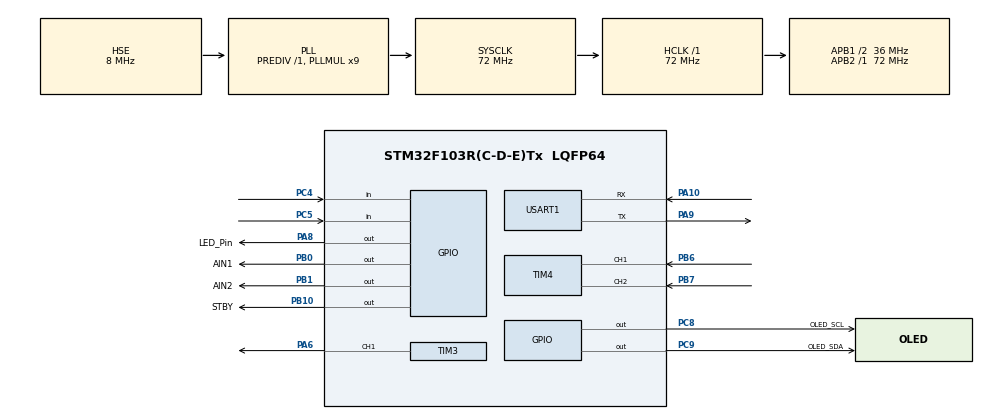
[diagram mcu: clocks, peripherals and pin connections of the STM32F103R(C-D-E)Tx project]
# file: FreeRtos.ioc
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FREERTOS.Tasks01=EncoderTask,24,128,StartEncoderTask,Default,NULL,Dynamic,NULL,NULL;OLEDTask,8,256,StartOLEDTask,Default,NULL,Dynamic,NULL,NULL;KeyTask,24,128,StartKeyTask,Default,NULL,Dynamic,NULL,NULL;MotorTask,24,256,StartMotorTask,Default,NULL,Dynamic,NULL,NULL;VofaTask,8,256,StartVofaTask,Default,NULL,Dynamic,NULL,NULL;LEDTask,8,128,StartLEDTask,Default,NULL,Dynamic,NULL,NULL
FREERTOS.configTOTAL_HEAP_SIZE=8192
Mcu.Family=STM32F1
Mcu.Name=STM32F103R(C-D-E)Tx
Mcu.Package=LQFP64
NVIC.PriorityGroup=NVIC_PRIORITYGROUP_4
NVIC.TIM1_UP_IRQn=true\:15\:0\:false\:false\:true\:false\:false\:true\:true
NVIC.TimeBase=TIM1_UP_IRQn
NVIC.TimeBaseIP=TIM1
PA13.Mode=Serial_Wire
PA13.Signal=SYS_JTMS-SWDIO
PA14.Mode=Serial_Wire
PA14.Signal=SYS_JTCK-SWCLK
PA6.Signal=S_TIM3_CH1
PA8.GPIO_Label=LED_Pin
PA8.Signal=GPIO_Output
PA9.Mode=Asynchronous
PA9.Signal=USART1_TX
PA10.Mode=Asynchronous
PA10.Signal=USART1_RX
PB0.GPIO_Label=AIN1
PB0.PinState=GPIO_PIN_RESET
PB0.Signal=GPIO_Output
PB1.GPIO_Label=AIN2
PB1.Signal=GPIO_Output
PB10.GPIO_Label=STBY
PB10.Signal=GPIO_Output
PB6.GPIO_PuPd=GPIO_PULLUP
PB6.Signal=S_TIM4_CH1
PB7.GPIO_PuPd=GPIO_PULLUP
PB7.Signal=S_TIM4_CH2
PC14-OSC32_IN.Mode=LSE-External-Oscillator
PC14-OSC32_IN.Signal=RCC_OSC32_IN
PC15-OSC32_OUT.Mode=LSE-External-Oscillator
PC15-OSC32_OUT.Signal=RCC_OSC32_OUT
PC4.GPIO_PuPd=GPIO_PULLUP
PC4.Signal=GPIO_Input
PC5.GPIO_PuPd=GPIO_PULLUP
PC5.Signal=GPIO_Input
PC8.GPIO_Label=OLED_SCL
PC8.GPIO_ModeDefaultOutputPP=GPIO_MODE_OUTPUT_OD
PC8.GPIO_PuPd=GPIO_PULLUP
PC8.Signal=GPIO_Output
PC9.GPIO_Label=OLED_SDA
PC9.GPIO_ModeDefaultOutputPP=GPIO_MODE_OUTPUT_OD
PC9.GPIO_PuPd=GPIO_PULLUP
PC9.Signal=GPIO_Output
PD0-OSC_IN.Mode=HSE-External-Oscillator
PD0-OSC_IN.Signal=RCC_OSC_IN
PD1-OSC_OUT.Mode=HSE-External-Oscillator
PD1-OSC_OUT.Signal=RCC_OSC_OUT
ProjectManager.HeapSize=0x200
ProjectManager.StackSize=0x400
ProjectManager.TargetToolchain=MDK-ARM V5.32
RCC.AHBFreq_Value=72000000
RCC.APB1CLKDivider=RCC_HCLK_DIV2
RCC.APB1Freq_Value=36000000
RCC.APB1TimFreq_Value=72000000
RCC.APB2Freq_Value=72000000
RCC.APB2TimFreq_Value=72000000
RCC.HCLKFreq_Value=72000000
RCC.PLLMUL=RCC_PLL_MUL9
RCC.PLLSourceVirtual=RCC_PLLSOURCE_HSE
RCC.SYSCLKFreq_VALUE=72000000
RCC.SYSCLKSource=RCC_SYSCLKSOURCE_PLLCLK
RCC.USBFreq_Value=72000000
SH.S_TIM3_CH1.0=TIM3_CH1,PWM Generation1 CH1
SH.S_TIM4_CH1.0=TIM4_CH1,Encoder_Interface
SH.S_TIM4_CH2.0=TIM4_CH2,Encoder_Interface
TIM3.AutoReloadPreload=TIM_AUTORELOAD_PRELOAD_ENABLE
TIM3.Channel-PWM\ Generation1\ CH1=TIM_CHANNEL_1
TIM3.Period=1000-1
TIM3.Prescaler=72-1
TIM4.EncoderMode=TIM_ENCODERMODE_TI12
TIM4.IC1Filter=6
TIM4.IC1Polarity=TIM_ICPOLARITY_RISING
TIM4.IC2Filter=6
TIM4.IC2Polarity=TIM_ICPOLARITY_RISING
USART1.VirtualMode=VM_ASYNC
VP_FREERTOS_VS_CMSIS_V2.Mode=CMSIS_V2
VP_SYS_VS_tim1.Mode=TIM1
board=custom

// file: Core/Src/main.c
/* USER CODE BEGIN Header */
/**
  ******************************************************************************
  * @file           : main.c
  * @brief          : Main program body
  ******************************************************************************
  * @attention
  *
  * Copyright (c) 2026 STMicroelectronics.
  * All rights reserved.
  *
  * This software is licensed under terms that can be found in the LICENSE file
  * in the root directory of this software component.
  * If no LICENSE file comes with this software, it is provided AS-IS.
  *
  ******************************************************************************
  */
/* USER CODE END Header */
#include "main.h"
#include "cmsis_os.h"
#include "tim.h"
#include "usart.h"
#include "gpio.h"

void SystemClock_Config(void);
void MX_FREERTOS_Init(void);

int main(void)
{

  /* MCU Configuration--------------------------------------------------------*/

  /* Reset of all peripherals, Initializes the Flash interface and the Systick. */
  HAL_Init();

  /* Configure the system clock */
  SystemClock_Config();

  /* Initialize all configured peripherals */
  MX_GPIO_Init();
  MX_USART1_UART_Init();
  MX_TIM3_Init();
  MX_TIM4_Init();

  /* Init scheduler */
  osKernelInitialize();  /* Call init function for freertos objects (in cmsis_os2.c) */
  MX_FREERTOS_Init();

  /* Start scheduler */
  osKernelStart();

  /* We should never get here as control is now taken by the scheduler */

  /* Infinite loop */
  while (1)
  {

  }
}

void SystemClock_Config(void)
{
  RCC_OscInitTypeDef RCC_OscInitStruct = {0};
  RCC_ClkInitTypeDef RCC_ClkInitStruct = {0};

  /** Initializes the RCC Oscillators according to the specified parameters
  * in the RCC_OscInitTypeDef structure.
  */
  RCC_OscInitStruct.OscillatorType = RCC_OSCILLATORTYPE_HSE;
  RCC_OscInitStruct.HSEState = RCC_HSE_ON;
  RCC_OscInitStruct.HSEPredivValue = RCC_HSE_PREDIV_DIV1;
  RCC_OscInitStruct.HSIState = RCC_HSI_ON;
  RCC_OscInitStruct.PLL.PLLState = RCC_PLL_ON;
  RCC_OscInitStruct.PLL.PLLSource = RCC_PLLSOURCE_HSE;
  RCC_OscInitStruct.PLL.PLLMUL = RCC_PLL_MUL9;
  if (HAL_RCC_OscConfig(&RCC_OscInitStruct) != HAL_OK)
  {
    Error_Handler();
  }

  /** Initializes the CPU, AHB and APB buses clocks
  */
  RCC_ClkInitStruct.ClockType = RCC_CLOCKTYPE_HCLK|RCC_CLOCKTYPE_SYSCLK
                              |RCC_CLOCKTYPE_PCLK1|RCC_CLOCKTYPE_PCLK2;
  RCC_ClkInitStruct.SYSCLKSource = RCC_SYSCLKSOURCE_PLLCLK;
  RCC_ClkInitStruct.AHBCLKDivider = RCC_SYSCLK_DIV1;
  RCC_ClkInitStruct.APB1CLKDivider = RCC_HCLK_DIV2;
  RCC_ClkInitStruct.APB2CLKDivider = RCC_HCLK_DIV1;

  if (HAL_RCC_ClockConfig(&RCC_ClkInitStruct, FLASH_LATENCY_2) != HAL_OK)
  {
    Error_Handler();
  }
}

void HAL_TIM_PeriodElapsedCallback(TIM_HandleTypeDef *htim)
{
  if (htim->Instance == TIM1)
  {
    HAL_IncTick();
  }
}

void Error_Handler(void)
{
  __disable_irq();
  while (1)
  {
  }
}

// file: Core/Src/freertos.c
/* USER CODE BEGIN Header */
/**
  ******************************************************************************
  * File Name          : freertos.c
  * Description        : Code for freertos applications
  ******************************************************************************
  * @attention
  *
  * Copyright (c) 2026 STMicroelectronics.
  * All rights reserved.
  *
  * This software is licensed under terms that can be found in the LICENSE file
  * in the root directory of this software component.
  * If no LICENSE file comes with this software, it is provided AS-IS.
  *
  ******************************************************************************
  */
/* USER CODE END Header */

#include "FreeRTOS.h"
#include "task.h"
#include "main.h"
#include "cmsis_os.h"

/* USER CODE BEGIN Includes */

#include "app.h"

/* USER CODE END Includes */

/* USER CODE BEGIN Variables */

/* 应用层状态放在 User/app/app.c 中，这里只负责创建 FreeRTOS 任务。 */

/* USER CODE END Variables */
/* EncoderTask 的任务句柄和创建参数。 */
osThreadId_t EncoderTaskHandle;
const osThreadAttr_t EncoderTask_attributes = {
  .name = "EncoderTask",
  .stack_size = 128 * 4,
  .priority = (osPriority_t) osPriorityNormal,
};
/* OLEDTask 的任务句柄和创建参数。 */
osThreadId_t OLEDTaskHandle;
const osThreadAttr_t OLEDTask_attributes = {
  .name = "OLEDTask",
  .stack_size = 256 * 4,
  .priority = (osPriority_t) osPriorityLow,
};
/* KeyTask 的任务句柄和创建参数。 */
osThreadId_t KeyTaskHandle;
const osThreadAttr_t KeyTask_attributes = {
  .name = "KeyTask",
  .stack_size = 128 * 4,
  .priority = (osPriority_t) osPriorityNormal,
};
/* MotorTask 的任务句柄和创建参数。 */
osThreadId_t MotorTaskHandle;
const osThreadAttr_t MotorTask_attributes = {
  .name = "MotorTask",
  .stack_size = 256 * 4,
  .priority = (osPriority_t) osPriorityNormal,
};
/* VofaTask 的任务句柄和创建参数，用来周期发送 PID 串口曲线数据。 */
osThreadId_t VofaTaskHandle;
const osThreadAttr_t VofaTask_attributes = {
  .name = "VofaTask",
  .stack_size = 256 * 4,
  .priority = (osPriority_t) osPriorityLow,
};
/* LEDTask 的任务句柄和创建参数，用来观察调度器是否在运行。 */
osThreadId_t LEDTaskHandle;
const osThreadAttr_t LEDTask_attributes = {
  .name = "LEDTask",
  .stack_size = 128 * 4,
  .priority = (osPriority_t) osPriorityLow,
};

void StartEncoderTask(void *argument);
void StartOLEDTask(void *argument);
void StartKeyTask(void *argument);
void StartMotorTask(void *argument);
void StartVofaTask(void *argument);
void StartLEDTask(void *argument);

void MX_FREERTOS_Init(void); /* (MISRA C 2004 rule 8.1) */

void MX_FREERTOS_Init(void) {
  /* USER CODE BEGIN Init */
  /*
   * 在任何任务启动前先复位应用层共享状态。
   * 各外设的硬件初始化放到拥有该外设的任务里完成。
   */
  App_Init();

  /* USER CODE END Init */

  /* Create the thread(s) */
  /* 创建编码器采样任务。 */
  EncoderTaskHandle = osThreadNew(StartEncoderTask, NULL, &EncoderTask_attributes);

  /* 创建 OLED 显示任务。 */
  OLEDTaskHandle = osThreadNew(StartOLEDTask, NULL, &OLEDTask_attributes);

  /* 创建按键扫描任务。 */
  KeyTaskHandle = osThreadNew(StartKeyTask, NULL, &KeyTask_attributes);

  /* 创建电机输出任务。 */
  MotorTaskHandle = osThreadNew(StartMotorTask, NULL, &MotorTask_attributes);

  /* 创建 VOFA 串口调试任务。 */
  VofaTaskHandle = osThreadNew(StartVofaTask, NULL, &VofaTask_attributes);

  /* 创建 LED 心跳任务。 */
  LEDTaskHandle = osThreadNew(StartLEDTask, NULL, &LEDTask_attributes);

  /* USER CODE BEGIN RTOS_THREADS */
  /*
   * 如果 heap 不够，osThreadNew() 会返回 NULL。
   * 这里主动检查，避免出现“部分任务没创建成功，但程序表面还在跑”的假象。
   */
  if ((EncoderTaskHandle == NULL) ||
      (OLEDTaskHandle == NULL) ||
      (KeyTaskHandle == NULL) ||
      (MotorTaskHandle == NULL) ||
      (VofaTaskHandle == NULL) ||
      (LEDTaskHandle == NULL))
  {
    Error_Handler();
  }
  /* USER CODE END RTOS_THREADS */

}

/* USER CODE BEGIN Header_StartEncoderTask */
/**
* @brief EncoderTask 线程入口。
* @param argument: 未使用
* @retval None
*/
/* USER CODE END Header_StartEncoderTask */
void StartEncoderTask(void *argument)
{
  /* USER CODE BEGIN StartEncoderTask */
  App_EncoderTask();
  /* USER CODE END StartEncoderTask */
}

/* USER CODE BEGIN Header_StartOLEDTask */
/**
* @brief OLEDTask 线程入口。
* @param argument: 未使用
* @retval None
*/
/* USER CODE END Header_StartOLEDTask */
void StartOLEDTask(void *argument)
{
  /* USER CODE BEGIN StartOLEDTask */
  App_OLEDTask();
  /* USER CODE END StartOLEDTask */
}

/* USER CODE BEGIN Header_StartKeyTask */
/**
* @brief KeyTask 线程入口。
* @param argument: 未使用
* @retval None
*/
/* USER CODE END Header_StartKeyTask */
void StartKeyTask(void *argument)
{
  /* USER CODE BEGIN StartKeyTask */
  App_KeyTask();
  /* USER CODE END StartKeyTask */
}

/* USER CODE BEGIN Header_StartMotorTask */
/**
* @brief MotorTask 线程入口。
* @param argument: 未使用
* @retval None
*/
/* USER CODE END Header_StartMotorTask */
void StartMotorTask(void *argument)
{
  /* USER CODE BEGIN StartMotorTask */
  App_MotorTask();
  /* USER CODE END StartMotorTask */
}

/* USER CODE BEGIN Header_StartVofaTask */
/**
* @brief VofaTask 线程入口。
* @param argument: 未使用
* @retval None
*/
/* USER CODE END Header_StartVofaTask */
void StartVofaTask(void *argument)
{
  /* USER CODE BEGIN StartVofaTask */
  App_VofaTask();
  /* USER CODE END StartVofaTask */
}

/* USER CODE BEGIN Header_StartLEDTask */
/**
* @brief LEDTask 线程入口。
* @param argument: 未使用
* @retval None
*/
/* USER CODE END Header_StartLEDTask */
void StartLEDTask(void *argument)
{
  /* USER CODE BEGIN StartLEDTask */
  /* 无限循环：LEDTask 周期性翻转 PA8，方便确认调度器仍在运行。 */
  for(;;)
  {
    HAL_GPIO_TogglePin(LED_GPIO_Port, LED_Pin);
    osDelay(500);
  }
  /* USER CODE END StartLEDTask */
}
